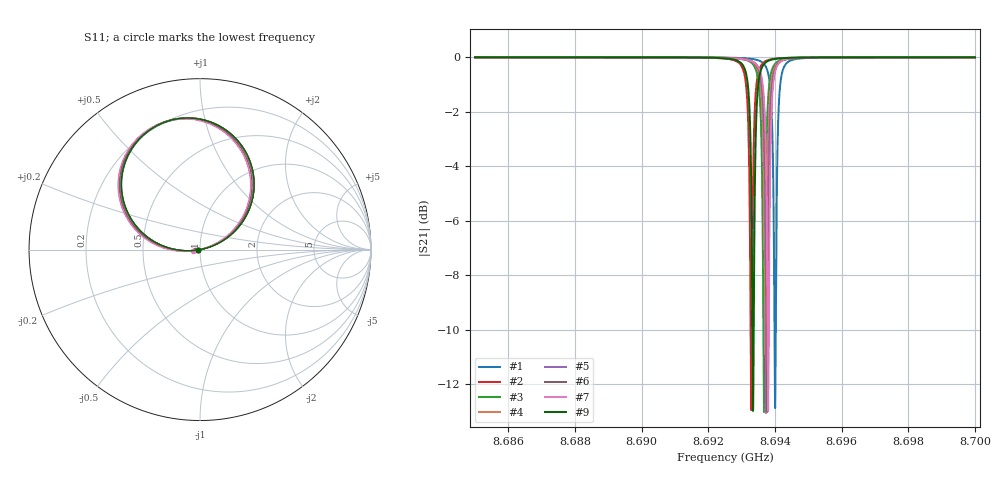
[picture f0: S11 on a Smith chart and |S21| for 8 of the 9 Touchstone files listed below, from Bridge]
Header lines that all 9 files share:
! Sonnet Data File
! From: emgraph Version : 16.52
! From Project: Qubit_Xmon2_brg_para
! Data is De-embedded
!< PARAMS
!< END PARAMS
# GHZ S MA R 51.80000
Fixed: Lj = 11.0, Gap = 6.0, Pwid = 2000.0, Airgap = 6.0, Width = 10.0
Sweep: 8.685 GHz to 8.7 GHz
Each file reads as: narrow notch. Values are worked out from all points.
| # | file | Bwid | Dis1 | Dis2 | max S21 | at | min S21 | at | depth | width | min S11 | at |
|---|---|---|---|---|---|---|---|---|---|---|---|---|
| 1 | Xeven05u_W8_D50.s2p | 8.0 | 50.0 | 56.0 | 0.00 dB | 8.69998 GHz | -12.9 dB | 8.69401 GHz | 12.9 dB | 77.8 kHz | -45.6 dB | 8.7 GHz |
| 2 | Xeven05u_W8_D150.s2p | 8.0 | 150.0 | 156.0 | 0.00 dB | 8.69996 GHz | -13.0 dB | 8.69328 GHz | 13.0 dB | 78.6 kHz | -47.2 dB | 8.7 GHz |
| 3 | Xeven05u_W8_D350.s2p | 8.0 | 350.0 | 356.0 | 0.00 dB | 8.69998 GHz | -13.0 dB | 8.69367 GHz | 13.0 dB | 78.5 kHz | -45.5 dB | 8.7 GHz |
| 4 | Xeven_D350_W8.s2p | 8.0 | 350.0 | 356.0 | 0.00 dB | 8.69998 GHz | -13.1 dB | 8.69373 GHz | 13.1 dB | 78.3 kHz | -42.0 dB | 8.7 GHz |
| 5 | Xeven_D350_W20.s2p | 20.0 | 350.0 | 356.0 | 0.00 dB | 8.69995 GHz | -13.1 dB | 8.69374 GHz | 13.1 dB | 78.2 kHz | -55.7 dB | 8.7 GHz |
| 6 | Xeven_D350_W40.s2p | 40.0 | 350.0 | 356.0 | 0.00 dB | 8.69847 GHz | -13.0 dB | 8.69378 GHz | 13.0 dB | 78.1 kHz | -73.9 dB | 8.69697 GHz |
| 7 | Xeven_D350_W60.s2p | 60.0 | 350.0 | 356.0 | 0.00 dB | 8.69688 GHz | -13.0 dB | 8.69379 GHz | 13.0 dB | 77.8 kHz | -67.6 dB | 8.69581 GHz |
| 8 | Xeven_W8_D50.s2p | 8.0 | 50.0 | 56.0 | 0.00 dB | 8.685 GHz | -12.9 dB | 8.69406 GHz | 12.9 dB | 78.1 kHz | -41.9 dB | 8.7 GHz |
| 9 | Xeven_W8_D150.s2p | 8.0 | 150.0 | 156.0 | 0.00 dB | 8.69998 GHz | -13.0 dB | 8.69334 GHz | 13.0 dB | 78.4 kHz | -43.0 dB | 8.7 GHz |
